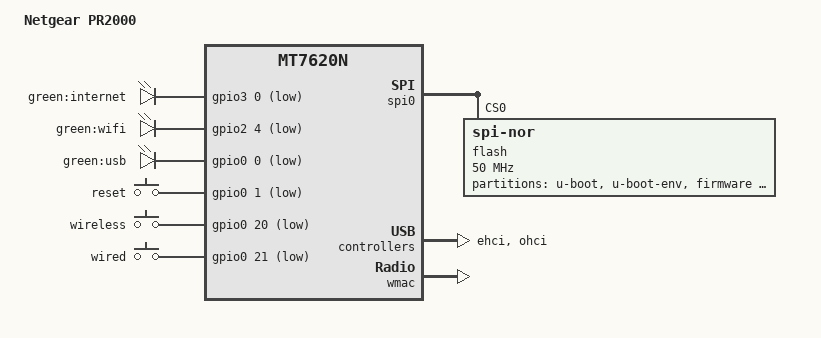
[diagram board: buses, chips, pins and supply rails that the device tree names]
// SPDX-License-Identifier: GPL-2.0-or-later OR MIT

#include "mt7620n.dtsi"

#include <dt-bindings/gpio/gpio.h>
#include <dt-bindings/input/input.h>

/ {
	compatible = "netgear,pr2000", "ralink,mt7620n-soc";
	model = "Netgear PR2000";

	aliases {
		label-mac-device = &ethernet;
	};

	leds {
		compatible = "gpio-leds";

		internet {
			label = "green:internet";
			gpios = <&gpio3 0 GPIO_ACTIVE_LOW>;
		};

		wifi {
			label = "green:wifi";
			gpios = <&gpio2 4 GPIO_ACTIVE_LOW>;
			linux,default-trigger = "phy0tpt";
		};

		usb {
			label = "green:usb";
			gpios = <&gpio0 0 GPIO_ACTIVE_LOW>;
			trigger-sources = <&ohci_port1>, <&ehci_port1>;
			linux,default-trigger = "usbport";
		};
	};

	keys {
		compatible = "gpio-keys";

		reset {
			label = "reset";
			gpios = <&gpio0 1 GPIO_ACTIVE_LOW>;
			linux,code = <KEY_RESTART>;
		};

		wireless {
			label = "wireless";
			gpios = <&gpio0 20 GPIO_ACTIVE_LOW>;
			linux,code = <BTN_0>;
			linux,input-type = <EV_SW>;
		};

		wired {
			label = "wired";
			gpios = <&gpio0 21 GPIO_ACTIVE_LOW>;
			linux,code = <BTN_0>;
			linux,input-type = <EV_SW>;
		};
	};
};

&gpio2 {
	status = "okay";
};

&gpio3 {
	status = "okay";
};

&spi0 {
	status = "okay";

	flash@0 {
		compatible = "jedec,spi-nor";
		reg = <0>;
		spi-max-frequency = <50000000>;
		m25p,fast-read;

		partitions {
			compatible = "fixed-partitions";
			#address-cells = <1>;
			#size-cells = <1>;

			partition@0 {
				label = "u-boot";
				reg = <0x0 0x30000>;
				read-only;
			};

			partition@30000 {
				label = "u-boot-env";
				reg = <0x30000 0x10000>;
			};

			/* sercomm header for kernel starts at 0x3ffba
			 * can be safely ignored since not used by OpenWRT
			 */

			partition@40000 {
				compatible = "denx,uimage";
				label = "firmware";
				reg = <0x40000 0xf20000>;
			};

			factory: partition@f60000 {
				label = "factory";
				reg = <0xf60000 0x10000>;
				read-only;
			};

			board_data: partition@f70000 {
				label = "board_data";
				reg = <0xf70000 0x10000>;
				read-only;
			};

			partition@f80000 {
				label = "POT";
				reg = <0xf80000 0x10000>;
				read-only;
			};

			partition@f90000 {
				label = "Traffic Meter";
				reg = <0xf90000 0x10000>;
				read-only;
			};

			partition@fa0000 {
				label = "Traffic Meter2";
				reg = <0xfa0000 0x10000>;
				read-only;
			};

			partition@fb0000 {
				label = "nvram";
				reg = <0xfb0000 0x10000>;
			};

			partition@fc0000 {
				label = "DPF";
				reg = <0xfc0000 0x10000>;
				read-only;
			};

			partition@fd0000 {
				label = "ralink_nvram";
				reg = <0xfd0000 0x10000>;
				read-only;
			};

			partition@fe0000 {
				label = "reserved1";
				reg = <0xfe0000 0x10000>;
				read-only;
			};

			partition@ff0000 {
				label = "reserved2";
				reg = <0xff0000 0x10000>;
				read-only;
			};
		};
	};
};

&ethernet {
	mtd-mac-address = <&board_data 0xb0>;
	mediatek,portmap = "wllll";
};

&ehci {
	status = "okay";
};

&ohci {
	status = "okay";
};

&wmac {
	ralink,mtd-eeprom = <&factory 0x0>;
	mtd-mac-address = <&board_data 0xb0>;
};

&state_default {
	default {
		groups = "ephy", "wled", "pa", "i2c";
		function = "gpio";
	};
};
